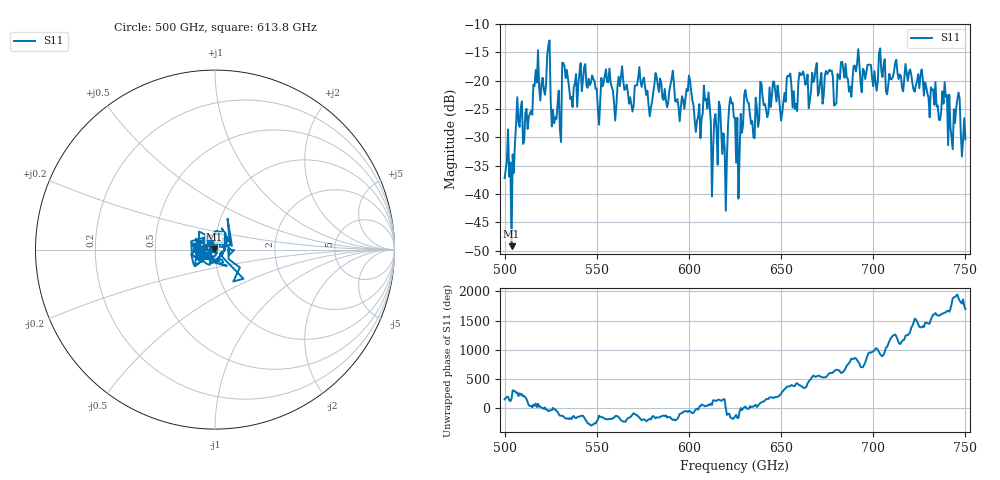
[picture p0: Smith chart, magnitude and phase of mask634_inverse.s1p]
!Created with skrf (http://scikit-rf.org).
# GHz S MA R 50.0
!freq magS11 angS11
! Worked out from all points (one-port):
!   401 points, 500 GHz to 750 GHz, reference 50 ohm
!   lowest |S11| = -49.2 dB at 503.8 GHz (marker M1), VSWR 1.01, Z = 49.7 + j0.159 ohm
!   |S11| at or under -10 dB: start of sweep to end of sweep
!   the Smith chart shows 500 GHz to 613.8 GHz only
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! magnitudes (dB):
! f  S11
! 500 GHz  -37.2
! 503.8 GHz  -49.2
! 507.5 GHz  -27.3
! 513.8 GHz  -25.7
! 516.9 GHz  -18.1
! 523.8 GHz  -13.8
! 526.9 GHz  -27.5
! 531.2 GHz  -16.8
! 532.5 GHz  -17.4
! 550.6 GHz  -25.2
! 562.5 GHz  -20.9
! 593.8 GHz  -23.2
! 600 GHz  -19.1
! 605 GHz  -26.3
! 609.4 GHz  -23.2
! 612.5 GHz  -40.4
! 617.5 GHz  -28.7
! 619.4 GHz  -31.8
! 622.5 GHz  -22.9
! 625 GHz  -26.5
! 626.2 GHz  -26.5
! 631.2 GHz  -23.1
! 634.4 GHz  -27.1
! 640 GHz  -23.0
! 656.2 GHz  -24.7
! 687.5 GHz  -21.0
! 718.8 GHz  -20.0
! 750 GHz  -30.4
